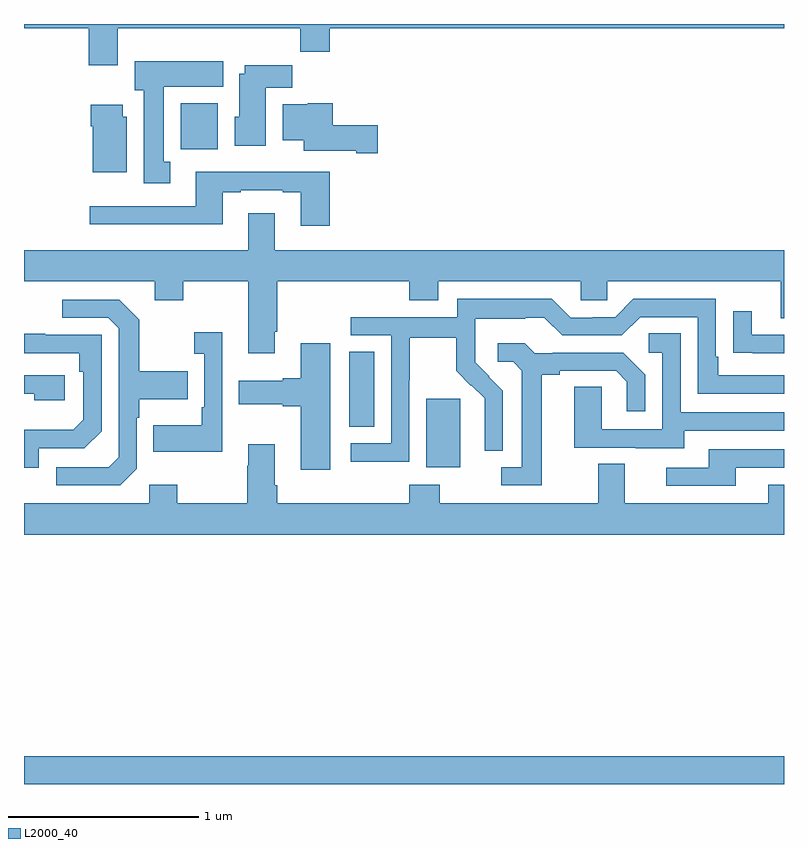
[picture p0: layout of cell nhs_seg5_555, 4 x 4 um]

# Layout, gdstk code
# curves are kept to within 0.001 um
import gdstk
lib = gdstk.Library(unit=1e-6, precision=1e-09)
def R(c, l, rs):  # rectangles x0, y0, x1, y1
    for r in rs: c.add(gdstk.rectangle(r[:2], r[2:], *l))
def P(c, l, *ps):  # polygons
    for p in ps: c.add(gdstk.Polygon(p, *l))
L2000_40 = (2000, 40)

nhs_seg5_555 = lib.new_cell('nhs_seg5_555')
R(nhs_seg5_555, L2000_40, [(147,836.799,151,836.944), (149.117,838.466,149.296,838.827), (148.712,838.678,148.843,839.075), (147.824,840.14,148.021,840.382)])
P(nhs_seg5_555, L2000_40, [(147.493,840.776),(148.453,840.776),(148.453,840.652),(148.61,840.652),(148.61,840.776),(151,840.776),(151,840.799),(147,840.799),(147,840.776),(147.341,840.776),(147.341,840.582),(147.493,840.582)],
  [(147.769,840.074),(147.736,840.074),(147.736,840.47),(148.048,840.47),(148.048,840.604),(147.584,840.604),(147.584,840.45),(147.629,840.45),(147.629,839.961),(147.769,839.961)],
  [(148.273,840.464),(148.412,840.464),(148.412,840.583),(148.163,840.583),(148.163,840.538),(148.133,840.538),(148.133,840.312),(148.109,840.312),(148.109,840.158),(148.273,840.158)],
  [(148.861,840.266),(148.625,840.266),(148.625,840.382),(148.494,840.382),(148.494,840.376),(148.361,840.376),(148.361,840.188),(148.472,840.188),(148.472,840.131),(148.748,840.131),(148.748,840.119),(148.861,840.119)],
  [(147.541,840.312),(147.52,840.312),(147.52,840.373),(147.35,840.373),(147.35,840.26),(147.362,840.26),(147.362,840.02),(147.541,840.02)],
  [(148.61,840.022),(147.905,840.022),(147.905,839.841),(147.345,839.841),(147.345,839.744),(148.045,839.744),(148.045,839.913),(148.141,839.913),(148.141,839.925),(148.361,839.925),(148.361,839.913),(148.457,839.913),(148.457,839.736),(148.61,839.736)],
  [(148.321,839.803),(148.181,839.803),(148.181,839.608),(147,839.608),(147,839.444),(147.689,839.444),(147.689,839.345),(147.837,839.345),(147.837,839.444),(148.181,839.444),(148.181,839.067),(148.321,839.067),(148.321,839.179),(148.334,839.179),(148.334,839.444),(149.027,839.444),(149.027,839.345),(149.179,839.345),(149.179,839.444),(149.931,839.444),(149.931,839.346),(150.069,839.346),(150.069,839.444),(150.983,839.444),(150.983,839.25),(151,839.25),(151,839.608),(148.321,839.608)],
  [(149.028,838.924),(149.031,838.924),(149.031,839.148),(149.275,839.148),(149.275,838.973),(149.352,838.896),(149.355,838.899),(149.426,838.829),(149.426,838.706),(149.424,838.706),(149.424,838.552),(149.52,838.552),(149.52,838.87),(149.374,839.018),(149.374,839.115),(149.376,839.115),(149.376,839.249),(149.639,839.249),(149.639,839.253),(149.739,839.253),(149.832,839.16),(150.147,839.16),(150.243,839.256),(150.546,839.256),(150.546,838.854),(151,838.854),(151,838.95),(150.655,838.95),(150.655,839.047),(150.642,839.047),(150.642,839.352),(150.207,839.352),(150.111,839.256),(149.993,839.256),(149.993,839.253),(149.877,839.253),(149.777,839.353),(149.28,839.353),(149.28,839.256),(148.719,839.256),(148.719,839.16),(148.932,839.16),(148.932,838.593),(148.719,838.593),(148.719,838.495),(149.028,838.495)],
  [(147.594,838.458),(147.594,838.727),(147.607,838.727),(147.607,838.823),(147.863,838.823),(147.863,838.971),(147.607,838.971),(147.607,839.243),(147.501,839.349),(147.201,839.349),(147.201,839.253),(147.444,839.253),(147.498,839.199),(147.498,838.518),(147.447,838.467),(147.171,838.467),(147.171,838.371),(147.507,838.371)],
  [(151,839.163),(150.829,839.163),(150.829,839.287),(150.733,839.287),(150.733,839.068),(150.835,839.068),(150.835,839.067),(151,839.067)],
  [(148.044,839.176),(147.897,839.176),(147.897,839.063),(147.948,839.063),(147.948,838.783),(147.936,838.783),(147.936,838.687),(147.679,838.687),(147.679,838.547),(148.044,838.547)],
  [(150.475,838.659),(151,838.659),(151,838.755),(150.456,838.755),(150.456,839.171),(150.288,839.171),(150.288,839.07),(150.36,839.07),(150.36,838.665),(150.042,838.665),(150.042,838.889),(149.897,838.889),(149.897,838.569),(150.221,838.569),(150.221,838.565),(150.475,838.565)],
  [(147.078,838.566),(147.318,838.566),(147.408,838.656),(147.408,839.163),(147.113,839.163),(147.113,839.168),(147.001,839.168),(147,839.067),(147.292,839.067),(147.292,838.97),(147.312,838.97),(147.312,838.716),(147.259,838.663),(147,838.663),(147,838.464),(147.078,838.464)],
  [(149.725,838.952),(149.821,838.952),(149.821,838.974),(150.116,838.974),(150.173,838.917),(150.173,838.761),(150.27,838.761),(150.27,838.954),(150.154,839.07),(149.782,839.07),(149.782,839.067),(149.688,839.067),(149.636,839.119),(149.493,839.119),(149.493,839.022),(149.574,839.022),(149.621,838.975),(149.621,838.467),(149.511,838.467),(149.511,838.371),(149.725,838.371)],
  [(148.612,839.119),(148.457,839.119),(148.457,838.934),(148.361,838.934),(148.361,838.921),(148.131,838.921),(148.131,838.799),(148.361,838.799),(148.361,838.787),(148.457,838.787),(148.457,838.452),(148.612,838.452)],
  [(147.214,838.95),(147,838.95),(147,838.854),(147.053,838.854),(147.053,838.82),(147.214,838.82)],
  [(151,838.375),(150.917,838.375),(150.917,838.276),(150.163,838.276),(150.163,838.484),(150.023,838.484),(150.023,838.276),(149.187,838.276),(149.187,838.375),(149.027,838.375),(149.027,838.276),(148.334,838.276),(148.334,838.372),(148.321,838.372),(148.321,838.588),(148.181,838.588),(148.181,838.475),(148.174,838.475),(148.174,838.276),(147.807,838.276),(147.807,838.375),(147.66,838.375),(147.66,838.276),(147,838.276),(147,838.112),(151,838.112)],
  [(150.745,838.464),(151,838.464),(151,838.56),(150.605,838.56),(150.605,838.464),(150.381,838.464),(150.381,838.368),(150.745,838.368)])

lib.write_gds('nhs_seg5_555.gds')
